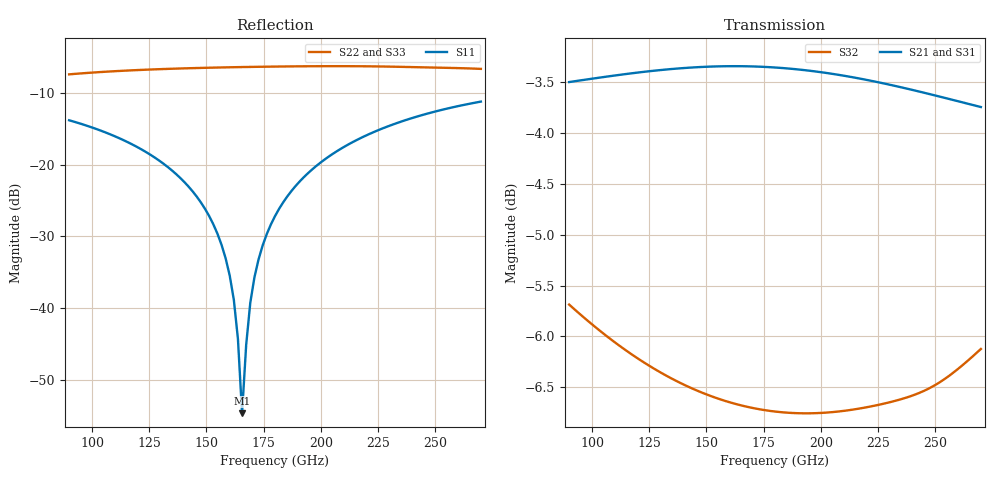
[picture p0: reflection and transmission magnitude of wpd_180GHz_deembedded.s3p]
! Created with skrf 2.0.1 (http://scikit-rf.org).
# GHz S DB R 50.0
!freq dBS11 angS11 dBS12 angS12 dBS13 angS13
! dBS21 angS21 dBS22 angS22 dBS23 angS23
! dBS31 angS31 dBS32 angS32 dBS33 angS33
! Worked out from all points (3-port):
!   101 points, 90 GHz to 270 GHz, reference 50 ohm
!   strongest paths, dB at 90 GHz, 135 GHz, 180 GHz, 225 GHz, 270 GHz:
!     S21: -3.5, -3.4, -3.4, -3.5, -3.7
!     S31: -3.5, -3.4, -3.4, -3.5, -3.8
!     S32: -5.7, -6.4, -6.7, -6.7, -6.1
!   lowest |S11| = -54.7 dB at 165.6 GHz (marker M1), VSWR 1.00, Z = 49.8 - j0.0268 ohm
!   |S11| at or under -10 dB: start of sweep to end of sweep
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90  -13.75 141.3  -3.50 -42.4  -3.50 -42.3
    -3.50 -42.4  -7.33 52.8  -5.69 -98.2
    -3.50 -42.3  -5.69 -98.2  -7.33 52.8
149.4  -26.13 116.9  -3.35 -71.9  -3.35 -71.9
       -3.35 -71.9  -6.42 14.3  -6.56 -153.5
       -3.35 -71.9  -6.56 -153.5  -6.42 14.3
160.2  -35.46 116.1  -3.34 -77.4  -3.35 -77.4
       -3.34 -77.4  -6.34 8.5  -6.65 -163.3
       -3.35 -77.4  -6.65 -163.3  -6.34 8.5
163.8  -44.33 125.7  -3.34 -79.2  -3.35 -79.2
       -3.34 -79.2  -6.32 6.7  -6.67 -166.5
       -3.35 -79.2  -6.67 -166.5  -6.32 6.7
165.6  -54.72 -171.6  -3.34 -80.2  -3.35 -80.2
       -3.34 -80.2  -6.31 5.7  -6.68 -168.1
       -3.35 -80.2  -6.68 -168.1  -6.31 5.7
167.4  -45.15 -92.4  -3.35 -81.1  -3.35 -81.1
       -3.35 -81.1  -6.30 4.8  -6.69 -169.8
       -3.35 -81.1  -6.69 -169.8  -6.30 4.8
171  -35.73 -81.2  -3.35 -82.9  -3.35 -82.9
     -3.35 -82.9  -6.28 3.0  -6.71 -173.0
     -3.35 -82.9  -6.71 -173.0  -6.28 3.0
180  -27.15 -81.3  -3.36 -87.5  -3.36 -87.5
     -3.36 -87.5  -6.24 -1.6  -6.74 178.9
     -3.36 -87.5  -6.74 178.9  -6.24 -1.6
212.4  -17.07 -94.1  -3.45 -104.0  -3.45 -104.0
       -3.45 -104.0  -6.19 -18.3  -6.72 149.7
       -3.45 -104.0  -6.72 149.7  -6.18 -18.2
270  -11.14 -118.2  -3.75 -132.3  -3.76 -132.3
     -3.75 -132.3  -6.57 -52.3  -6.12 97.5
     -3.76 -132.3  -6.12 97.5  -6.55 -52.3
